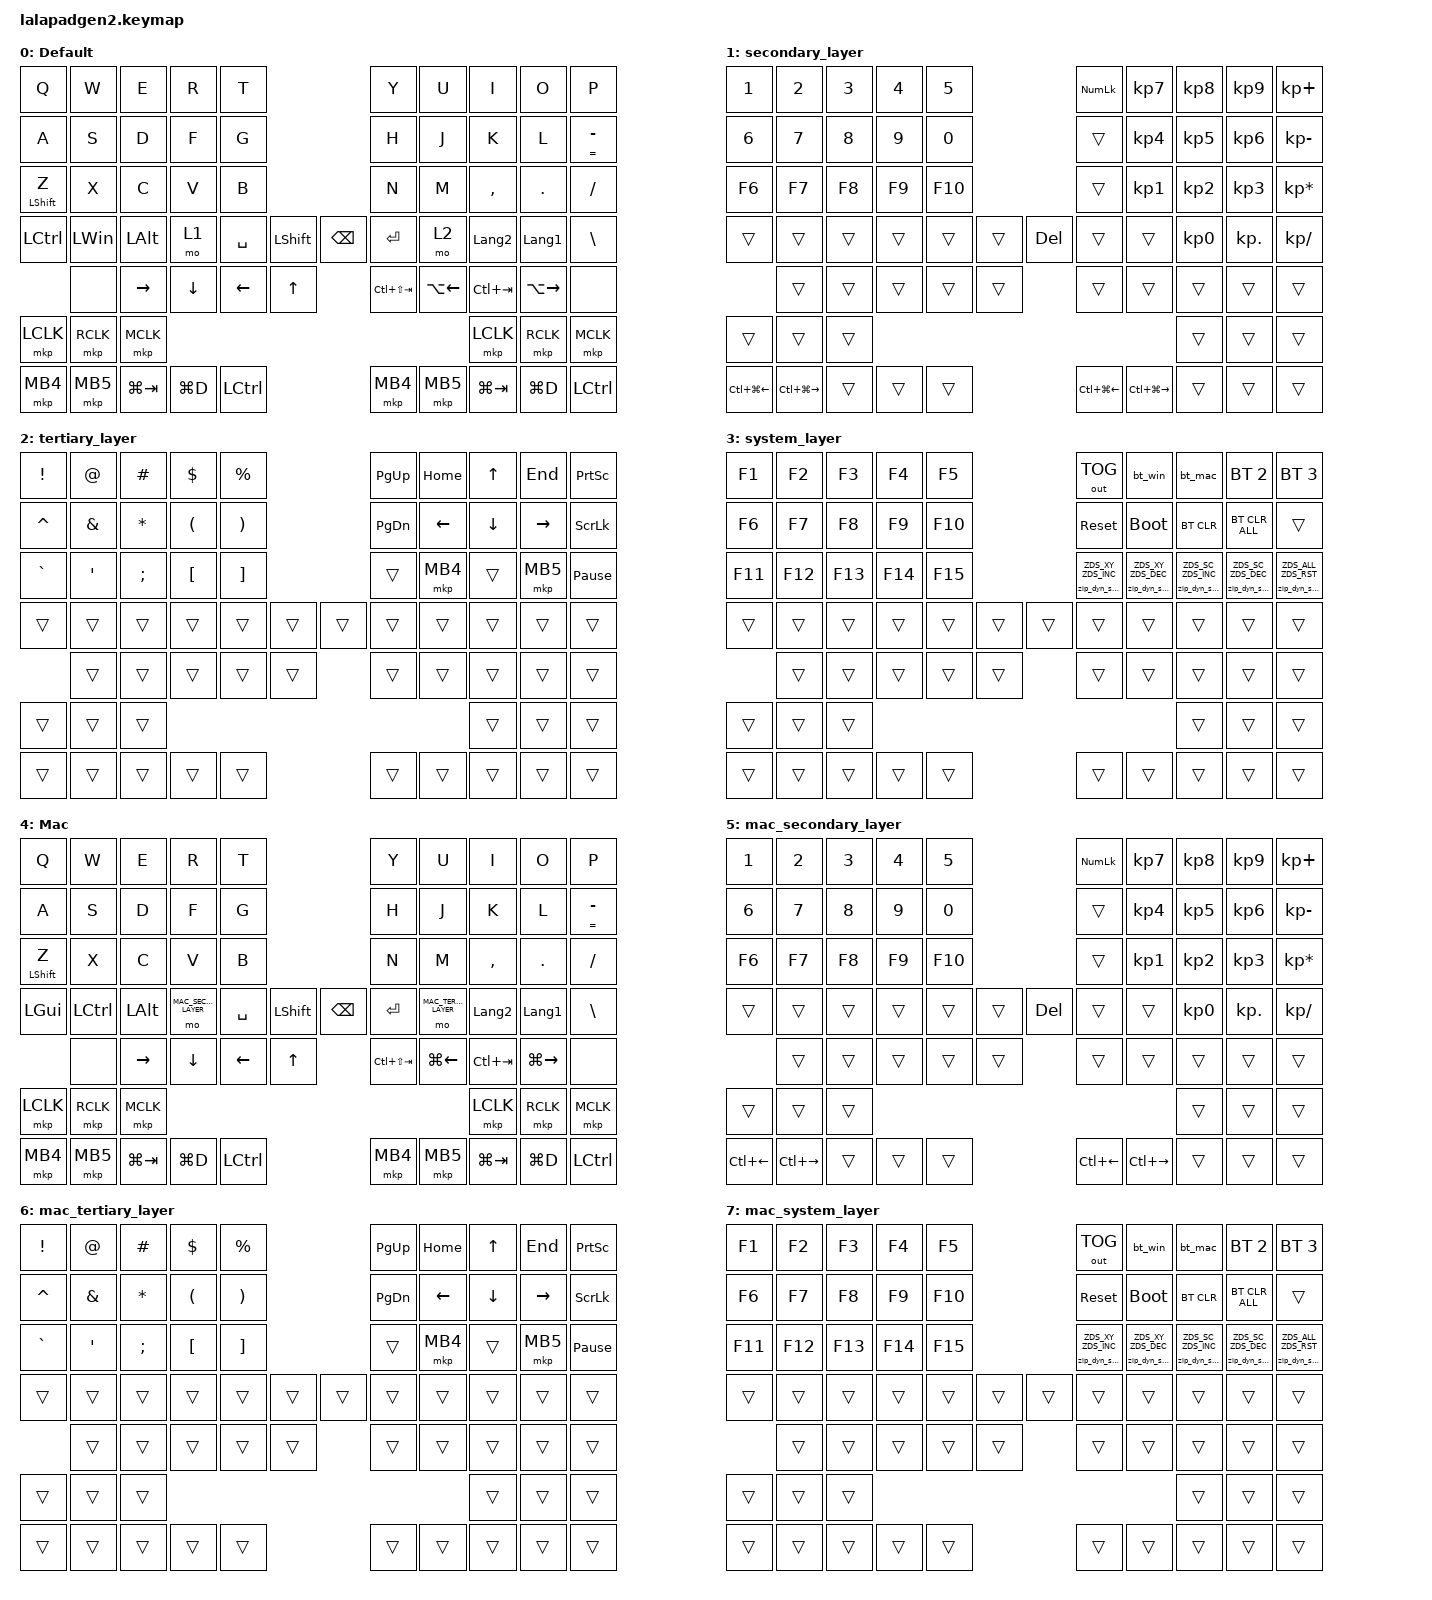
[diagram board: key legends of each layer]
#include <input/processors.dtsi>
#include <dt-bindings/zmk/zip_dynamic_scale.h>
#include <behaviors.dtsi>
#include <dt-bindings/zmk/bt.h>
#include <dt-bindings/zmk/keys.h>
#include <dt-bindings/zmk/outputs.h>
#include <dt-bindings/zmk/pointing.h>

#define DEFAULT_LAYER   0
#define SECONDARY_LAYER 1
#define TERTIARY_LAYER  2
#define SYSTEM_LAYER    3
#define MAC_LAYER       4
#define MAC_SECONDARY_LAYER 5
#define MAC_TERTIARY_LAYER  6
#define MAC_SYSTEM_LAYER     7

&mt { quick-tap-ms = <200>; };

&lt { quick-tap-ms = <200>; };

/ {
    behaviors {
        zip_dyn_scale: zip_dyn_scale {
            compatible = "zmk,behavior-zip-dynamic-scale";
            #binding-cells = <2>;
        };

        zip_dyn_scale_set: zip_dyn_scale_set {
            compatible = "zmk,behavior-zip-dynamic-scale-set";
            #binding-cells = <2>;
        };

        mt2: mod_tap2 {
            compatible = "zmk,behavior-hold-tap";
            #binding-cells = <2>;
            flavor = "tap-preferred";
            tapping-term-ms = <200>;
            quick-tap-ms = <200>;
            require-prior-idle-ms = <125>;
            bindings = <&kp>, <&kp>;
        };

        tap_dance_layer_1and2: tap_dance_layer_1and2 {
            compatible = "zmk,behavior-tap-dance";
            label = "td_mo12";
            #binding-cells = <0>;
            bindings = <&mo 1>, <&mo 2>;
        };
    };

    macros {
        bt_win: bt_win {
            compatible = "zmk,behavior-macro";
            #binding-cells = <0>;
            bindings = <&bt BT_SEL 0>, <&to DEFAULT_LAYER>;
        };

        bt_mac: bt_mac {
            compatible = "zmk,behavior-macro";
            #binding-cells = <0>;
            bindings = <&bt BT_SEL 1>, <&to MAC_LAYER>;
        };
    };

    combos {
        compatible = "zmk,combos";

        CONBO_ESC {
            bindings = <&kp ESCAPE>;
            key-positions = <0 1>;
        };

        COMBO_TAB {
            bindings = <&kp TAB>;
            key-positions = <10 11>;
        };
    };

    keymap {
        compatible = "zmk,keymap";

        DEFAULT_LAYER {
            display-name = "Default";
            bindings = <
&kp Q              &kp W      &kp E         &kp R      &kp T                                     &kp Y      &kp U     &kp I           &kp O           &kp P
&kp A              &kp S      &kp D         &kp F      &kp G                                     &kp H      &kp J     &kp K           &kp L           &mt2 EQUAL MINUS
&mt2 LEFT_SHIFT Z  &kp X      &kp C         &kp V      &kp B                                     &kp N      &kp M     &kp COMMA       &kp PERIOD      &kp SLASH
&kp LCTRL          &kp LWIN   &kp LEFT_ALT  &mo 1      &kp SPACE  &kp LEFT_SHIFT  &kp BACKSPACE  &kp ENTER  &mo 2     &kp LANGUAGE_2  &kp LANGUAGE_1  &kp BACKSLASH
                   &none      &kp RIGHT     &kp DOWN   &kp LEFT   &kp UP          &kp LC(LS(TAB))    &kp LA(LEFT)  &kp LC(TAB)  &kp LA(RIGHT)   &none
&mkp LCLK          &mkp RCLK  &mkp MCLK                                                                               &mkp LCLK       &mkp RCLK       &mkp MCLK
&mkp MB4           &mkp MB5   &kp LG(TAB)   &kp LG(D)  &kp LCTRL                                 &mkp MB4   &mkp MB5  &kp LG(TAB)     &kp LG(D)       &kp LCTRL
            >;
        };

        SECONDARY_LAYER {
            display-name = "secondary_layer";
            bindings = <
&kp NUMBER_1      &kp NUMBER_2       &kp NUMBER_3  &kp NUMBER_4  &kp N5                    &kp KP_NUMLOCK    &kp KP_NUMBER_7    &kp KP_NUMBER_8  &kp KP_NUMBER_9  &kp KP_PLUS
&kp NUMBER_6      &kp N7             &kp N8        &kp N9        &kp N0                    &trans            &kp KP_NUMBER_4    &kp KP_NUMBER_5  &kp KP_NUMBER_6  &kp KP_MINUS
&kp F6            &kp F7             &kp F8        &kp F9        &kp F10                   &trans            &kp KP_NUMBER_1    &kp KP_NUMBER_2  &kp KP_NUMBER_3  &kp KP_ASTERISK
&trans            &trans             &trans        &trans        &trans   &trans  &kp DEL  &trans            &trans             &kp KP_NUMBER_0  &kp KP_DOT       &kp KP_DIVIDE
                  &trans             &trans        &trans        &trans   &trans  &trans   &trans            &trans             &trans           &trans
&trans            &trans             &trans                                                                                     &trans           &trans           &trans
&kp LC(LG(LEFT))  &kp LC(LG(RIGHT))  &trans        &trans        &trans                    &kp LC(LG(LEFT))  &kp LC(LG(RIGHT))  &trans           &trans           &trans
            >;
        };

        TERTIARY_LAYER {
            display-name = "tertiary_layer";
            bindings = <
&kp EXCLAMATION  &kp AT_SIGN    &kp HASH      &kp DOLLAR            &kp PERCENT                            &kp PAGE_UP    &kp HOME  &kp UP_ARROW    &kp END    &kp PRINTSCREEN
&kp CARET        &kp AMPERSAND  &kp ASTERISK  &kp LEFT_PARENTHESIS  &kp RIGHT_PARENTHESIS                  &kp PAGE_DOWN  &kp LEFT  &kp DOWN_ARROW  &kp RIGHT  &kp SCROLLLOCK
&kp GRAVE        &kp SQT        &kp SEMI      &kp LEFT_BRACKET      &kp RIGHT_BRACKET                      &trans         &mkp MB4  &trans          &mkp MB5   &kp PAUSE_BREAK
&trans           &trans         &trans        &trans                &trans                 &trans  &trans  &trans         &trans    &trans          &trans     &trans
                 &trans         &trans        &trans                &trans                 &trans  &trans  &trans         &trans    &trans          &trans
&trans           &trans         &trans                                                                                              &trans          &trans     &trans
&trans           &trans         &trans        &trans                &trans                                 &trans         &trans    &trans          &trans     &trans
            >;
        };

        SYSTEM_LAYER {
            display-name = "system_layer";
            bindings = <
&kp F1   &kp F2   &kp F3   &kp F4   &kp F5                   &out OUT_TOG                   &bt_win                        &bt_mac                        &bt BT_SEL 2                   &bt BT_SEL 3
&kp F6   &kp F7   &kp F8   &kp F9   &kp F10                  &sys_reset                     &bootloader                    &bt BT_CLR                     &bt BT_CLR_ALL                 &trans
&kp F11  &kp F12  &kp F13  &kp F14  &kp F15                  &zip_dyn_scale ZDS_XY ZDS_INC  &zip_dyn_scale ZDS_XY ZDS_DEC  &zip_dyn_scale ZDS_SC ZDS_INC  &zip_dyn_scale ZDS_SC ZDS_DEC  &zip_dyn_scale ZDS_ALL ZDS_RST
&trans   &trans   &trans   &trans   &trans   &trans  &trans  &trans                         &trans                         &trans                         &trans                         &trans
         &trans   &trans   &trans   &trans   &trans  &trans  &trans                         &trans                         &trans                         &trans
&trans   &trans   &trans                                                                                                   &trans                         &trans                         &trans
&trans   &trans   &trans   &trans   &trans                   &trans                         &trans                         &trans                         &trans                         &trans
            >;
        };

        MAC_LAYER {
            display-name = "Mac";
            bindings = <
&kp Q             &kp W      &kp E         &kp R      &kp T                                     &kp Y      &kp U     &kp I           &kp O           &kp P
&kp A             &kp S      &kp D         &kp F      &kp G                                     &kp H      &kp J     &kp K           &kp L           &mt2 EQUAL MINUS
&mt2 LEFT_SHIFT Z &kp X      &kp C         &kp V      &kp B                                     &kp N      &kp M     &kp COMMA       &kp PERIOD      &kp SLASH
&kp LGUI          &kp LCTRL  &kp LEFT_ALT  &mo MAC_SECONDARY_LAYER      &kp SPACE  &kp LEFT_SHIFT  &kp BACKSPACE  &kp ENTER  &mo MAC_TERTIARY_LAYER     &kp LANGUAGE_2  &kp LANGUAGE_1  &kp BACKSLASH
                  &none      &kp RIGHT     &kp DOWN   &kp LEFT   &kp UP          &kp LC(LS(TAB))    &kp LG(LEFT)  &kp LC(TAB)  &kp LG(RIGHT)   &none
&mkp LCLK         &mkp RCLK  &mkp MCLK                                                                               &mkp LCLK       &mkp RCLK       &mkp MCLK
&mkp MB4          &mkp MB5   &kp LG(TAB)   &kp LG(D)  &kp LCTRL                                 &mkp MB4   &mkp MB5  &kp LG(TAB)     &kp LG(D)       &kp LCTRL
            >;
        };

        MAC_SECONDARY_LAYER {
            display-name = "mac_secondary_layer";
            bindings = <
&kp NUMBER_1      &kp NUMBER_2       &kp NUMBER_3  &kp NUMBER_4  &kp N5                    &kp KP_NUMLOCK    &kp KP_NUMBER_7    &kp KP_NUMBER_8  &kp KP_NUMBER_9  &kp KP_PLUS
&kp NUMBER_6      &kp N7             &kp N8        &kp N9        &kp N0                    &trans            &kp KP_NUMBER_4    &kp KP_NUMBER_5  &kp KP_NUMBER_6  &kp KP_MINUS
&kp F6            &kp F7             &kp F8        &kp F9        &kp F10                   &trans            &kp KP_NUMBER_1    &kp KP_NUMBER_2  &kp KP_NUMBER_3  &kp KP_ASTERISK
&trans            &trans             &trans        &trans        &trans   &trans  &kp DEL  &trans            &trans             &kp KP_NUMBER_0  &kp KP_DOT       &kp KP_DIVIDE
                  &trans             &trans        &trans        &trans   &trans  &trans   &trans            &trans             &trans           &trans
&trans            &trans             &trans                                                                                     &trans           &trans           &trans
&kp LC(LEFT)      &kp LC(RIGHT)      &trans        &trans        &trans                    &kp LC(LEFT)      &kp LC(RIGHT)      &trans           &trans           &trans
            >;
        };

        MAC_TERTIARY_LAYER {
            display-name = "mac_tertiary_layer";
            bindings = <
&kp EXCLAMATION  &kp AT_SIGN    &kp HASH      &kp DOLLAR            &kp PERCENT                            &kp PAGE_UP    &kp HOME  &kp UP_ARROW    &kp END    &kp PRINTSCREEN
&kp CARET        &kp AMPERSAND  &kp ASTERISK  &kp LEFT_PARENTHESIS  &kp RIGHT_PARENTHESIS                  &kp PAGE_DOWN  &kp LEFT  &kp DOWN_ARROW  &kp RIGHT  &kp SCROLLLOCK
&kp GRAVE        &kp SQT        &kp SEMI      &kp LEFT_BRACKET      &kp RIGHT_BRACKET                      &trans         &mkp MB4  &trans          &mkp MB5   &kp PAUSE_BREAK
&trans           &trans         &trans        &trans                &trans                 &trans  &trans  &trans         &trans    &trans          &trans     &trans
                 &trans         &trans        &trans                &trans                 &trans  &trans  &trans         &trans    &trans          &trans
&trans           &trans         &trans                                                                                              &trans          &trans     &trans
&trans           &trans         &trans        &trans                &trans                                 &trans         &trans    &trans          &trans     &trans
            >;
        };

        MAC_SYSTEM_LAYER {
            display-name = "mac_system_layer";
            bindings = <
&kp F1   &kp F2   &kp F3   &kp F4   &kp F5                   &out OUT_TOG                   &bt_win                        &bt_mac                        &bt BT_SEL 2                   &bt BT_SEL 3
&kp F6   &kp F7   &kp F8   &kp F9   &kp F10                  &sys_reset                     &bootloader                    &bt BT_CLR                     &bt BT_CLR_ALL                 &trans
&kp F11  &kp F12  &kp F13  &kp F14  &kp F15                  &zip_dyn_scale ZDS_XY ZDS_INC  &zip_dyn_scale ZDS_XY ZDS_DEC  &zip_dyn_scale ZDS_SC ZDS_INC  &zip_dyn_scale ZDS_SC ZDS_DEC  &zip_dyn_scale ZDS_ALL ZDS_RST
&trans   &trans   &trans   &trans   &trans   &trans  &trans  &trans                         &trans                         &trans                         &trans                         &trans
         &trans   &trans   &trans   &trans   &trans  &trans  &trans                         &trans                         &trans                         &trans
&trans   &trans   &trans                                                                                                   &trans                         &trans                         &trans
&trans   &trans   &trans   &trans   &trans                   &trans                         &trans                         &trans                         &trans                         &trans
            >;
        };
    };

    conditional_layers {
        compatible = "zmk,conditional-layers";

        Cond_Syslayer {
            if-layers = <1 2>;
            then-layer = <3>;
        };

        Cond_Syslayer_Mac {
            if-layers = <MAC_SECONDARY_LAYER MAC_TERTIARY_LAYER>;
            then-layer = <MAC_SYSTEM_LAYER>;
        };
    };
};
